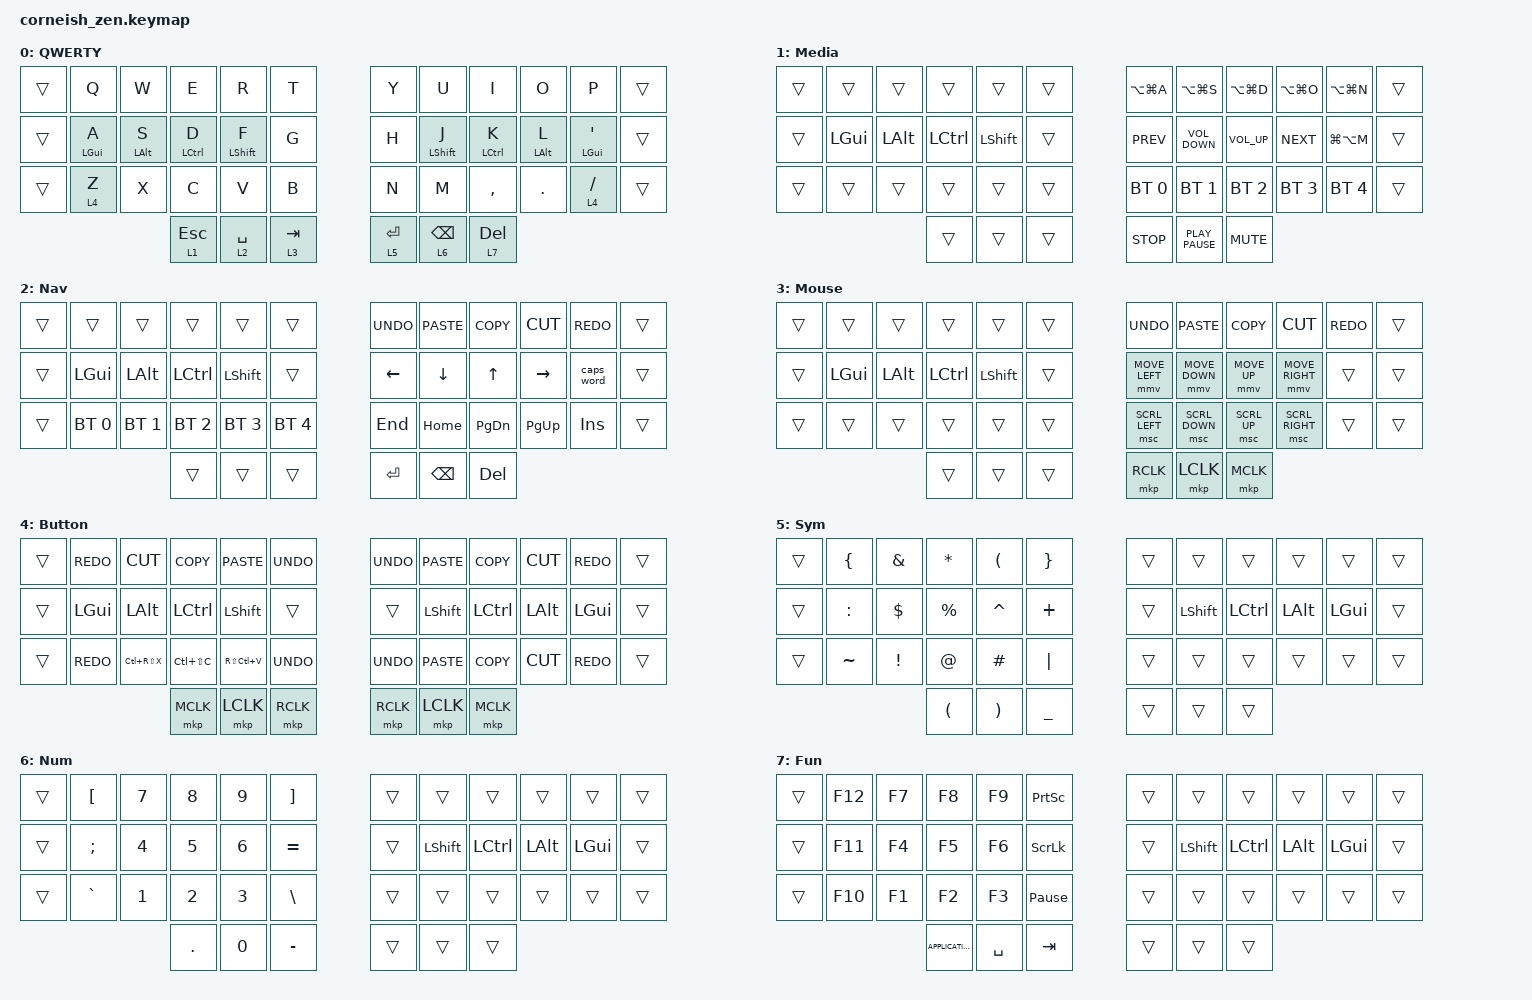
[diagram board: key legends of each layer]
#include <behaviors.dtsi>
#include <dt-bindings/zmk/bt.h>
#include <dt-bindings/zmk/keys.h>
#include <dt-bindings/zmk/pointing.h>

/ {
    chosen {
        zmk,physical-layout = &foostan_corne_6col_layout;

        // zmk,physical-layout = &foostan_corne_5col_layout;
    };
};

/ {
    combos {
        compatible = "zmk,combos";

        MEH {
            bindings = <&kp LC(LA(LS(LEFT_GUI)))>;
            key-positions = <38 39>;
        };

        MEH2 {
            bindings = <&kp LS(LA(LEFT_GUI))>;
            key-positions = <36 41>;
        };

        btclear {
            bindings = <&bt BT_CLR>;
            key-positions = <25 26 28 27>;
            layers = <2>;
        };
    };

    keymap {
        compatible = "zmk,keymap";

        default_layer {
            display-name = "QWERTY";

            // --------------------------------------------------------------------------------
            // |  TAB |  Q  |  W  |  E  |  R  |  T  |   |  Y  |  U   |  I  |  O  |  P  | BSPC |
            // | CTRL |  A  |  S  |  D  |  F  |  G  |   |  H  |  J   |  K  |  L  |  ;  |  '   |
            // | SHFT |  Z  |  X  |  C  |  V  |  B  |   |  N  |  M   |  ,  |  .  |  /  | ESC  |
            //                    | GUI | LWR | SPC |   | ENT | RSE  | ALT |

            bindings = <
&trans  &kp Q           &kp W           &kp E        &kp R             &kp T        &kp Y      &kp U             &kp I         &kp O           &kp P             &trans
&trans  &mt LEFT_GUI A  &mt LEFT_ALT S  &mt LCTRL D  &mt LEFT_SHIFT F  &kp G        &kp H      &mt LEFT_SHIFT J  &mt LCTRL K   &mt LEFT_ALT L  &mt LEFT_GUI SQT  &trans
&trans  &lt 4 Z         &kp X           &kp C        &kp V             &kp B        &kp N      &kp M             &kp COMMA     &kp DOT         &lt 4 SLASH       &trans
                                        &lt 1 ESC    &lt 2 SPACE       &lt 3 TAB    &lt 5 RET  &lt 6 BACKSPACE   &lt 7 DELETE
            >;
        };

        MEDIA {
            display-name = "Media";

            // -----------------------------------------------------------------------------------------
            // |  TAB |  1  |  2  |  3  |  4  |  5  |   |  6  |  7  |  8  |  9  |  0  | BSPC |
            // | BTCLR| BT1 | BT2 | BT3 | BT4 | BT5 |   | LFT | DWN |  UP | RGT |     |Studio|
            // | SHFT |     |     |     |     |     |   |     |     |     |     |     |      |
            //                    | GUI |     | SPC |   | ENT |     | ALT |

            bindings = <
&trans  &trans        &trans        &trans     &trans          &trans    &kp LA(LG(A))  &kp LA(LG(S))      &kp LA(LG(D))    &kp LA(LG(O))  &kp LA(LG(N))  &trans
&trans  &kp LEFT_GUI  &kp LEFT_ALT  &kp LCTRL  &kp LEFT_SHIFT  &trans    &kp K_PREV     &kp K_VOLUME_DOWN  &kp K_VOLUME_UP  &kp K_NEXT     &kp LG(LA(M))  &trans
&trans  &trans        &trans        &trans     &trans          &trans    &bt BT_SEL 0   &bt BT_SEL 1       &bt BT_SEL 2     &bt BT_SEL 3   &bt BT_SEL 4   &trans
                                    &trans     &trans          &trans    &kp K_STOP     &kp K_PLAY_PAUSE   &kp K_MUTE
            >;
        };

        NAV {
            display-name = "Nav";

            // -----------------------------------------------------------------------------------------
            // |  TAB |  !  |  @  |  #  |  $  |  %  |   |  ^  |  &  |  *  |  (  |  )  | BSPC |
            // | CTRL |     |     |     |     |     |   |  -  |  =  |  [  |  ]  |  \  |  `   |
            // | SHFT |     |     |     |     |     |   |  _  |  +  |  {  |  }  | "|" |  ~   |
            //                    | GUI |     | SPC |   | ENT |     | ALT |

            bindings = <
&trans  &trans        &trans        &trans        &trans          &trans          &kp K_UNDO  &kp K_PASTE    &kp K_COPY     &kp K_CUT    &kp K_REDO  &trans
&trans  &kp LEFT_GUI  &kp LEFT_ALT  &kp LCTRL     &kp LEFT_SHIFT  &trans          &kp LEFT    &kp DOWN       &kp UP_ARROW   &kp RIGHT    &caps_word  &trans
&trans  &bt BT_SEL 0  &bt BT_SEL 1  &bt BT_SEL 2  &bt BT_SEL 3    &bt BT_SEL 4    &kp END     &kp HOME       &kp PAGE_DOWN  &kp PAGE_UP  &kp INS     &trans
                                    &trans        &trans          &trans          &kp RET     &kp BACKSPACE  &kp DELETE
            >;
        };

        MOUSE {
            bindings = <
&trans  &trans        &trans        &trans     &trans          &trans    &kp K_UNDO      &kp K_PASTE     &kp K_COPY    &kp K_CUT        &kp K_REDO  &trans
&trans  &kp LEFT_GUI  &kp LEFT_ALT  &kp LCTRL  &kp LEFT_SHIFT  &trans    &mmv MOVE_LEFT  &mmv MOVE_DOWN  &mmv MOVE_UP  &mmv MOVE_RIGHT  &trans      &trans
&trans  &trans        &trans        &trans     &trans          &trans    &msc SCRL_LEFT  &msc SCRL_DOWN  &msc SCRL_UP  &msc SCRL_RIGHT  &trans      &trans
                                    &trans     &trans          &trans    &mkp RCLK       &mkp LCLK       &mkp MCLK
            >;

            label = "Mouse";
        };

        Button {
            bindings = <
&trans  &kp K_REDO    &kp K_CUT      &kp K_COPY     &kp K_PASTE     &kp K_UNDO    &kp K_UNDO  &kp K_PASTE     &kp K_COPY  &kp K_CUT     &kp K_REDO    &trans
&trans  &kp LEFT_GUI  &kp LEFT_ALT   &kp LCTRL      &kp LEFT_SHIFT  &trans        &trans      &kp LEFT_SHIFT  &kp LCTRL   &kp LEFT_ALT  &kp LEFT_GUI  &trans
&trans  &kp K_REDO    &kp LC(RS(X))  &kp LC(LS(C))  &kp RS(LC(V))   &kp K_UNDO    &kp K_UNDO  &kp K_PASTE     &kp K_COPY  &kp K_CUT     &kp K_REDO    &trans
                                     &mkp MCLK      &mkp LCLK       &mkp RCLK     &mkp RCLK   &mkp LCLK       &mkp MCLK
            >;

            label = "Button";
        };

        SYMBOL {
            bindings = <
&trans  &kp LEFT_BRACE  &kp AMPERSAND    &kp ASTERISK          &kp LEFT_PARENTHESIS   &kp RIGHT_BRACE    &trans  &trans          &trans     &trans        &trans        &trans
&trans  &kp COLON       &kp DOLLAR       &kp PERCENT           &kp CARET              &kp PLUS           &trans  &kp LEFT_SHIFT  &kp LCTRL  &kp LEFT_ALT  &kp LEFT_GUI  &trans
&trans  &kp TILDE       &kp EXCLAMATION  &kp AT_SIGN           &kp HASH               &kp PIPE           &trans  &trans          &trans     &trans        &trans        &trans
                                         &kp LEFT_PARENTHESIS  &kp RIGHT_PARENTHESIS  &kp UNDERSCORE     &trans  &trans          &trans
            >;

            label = "Sym";
        };

        NUMBER {
            bindings = <
&trans  &kp LEFT_BRACKET  &kp N7        &kp N8        &kp N9        &kp RIGHT_BRACKET    &trans  &trans          &trans     &trans        &trans        &trans
&trans  &kp SEMICOLON     &kp NUMBER_4  &kp N5        &kp NUMBER_6  &kp EQUAL            &trans  &kp LEFT_SHIFT  &kp LCTRL  &kp LEFT_ALT  &kp LEFT_GUI  &trans
&trans  &kp GRAVE         &kp NUMBER_1  &kp NUMBER_2  &kp NUMBER_3  &kp BACKSLASH        &trans  &trans          &trans     &trans        &trans        &trans
                                        &kp PERIOD    &kp N0        &kp MINUS            &trans  &trans          &trans
            >;

            label = "Num";
        };

        FUNCTION {
            bindings = <
&trans  &kp F12  &kp F7  &kp F8             &kp F9     &kp PRINTSCREEN    &trans  &trans          &trans     &trans        &trans        &trans
&trans  &kp F11  &kp F4  &kp F5             &kp F6     &kp SCROLLLOCK     &trans  &kp LEFT_SHIFT  &kp LCTRL  &kp LEFT_ALT  &kp LEFT_GUI  &trans
&trans  &kp F10  &kp F1  &kp F2             &kp F3     &kp PAUSE_BREAK    &trans  &trans          &trans     &trans        &trans        &trans
                         &kp K_APPLICATION  &kp SPACE  &kp TAB            &trans  &trans          &trans
            >;

            label = "Fun";
        };
    };
};
